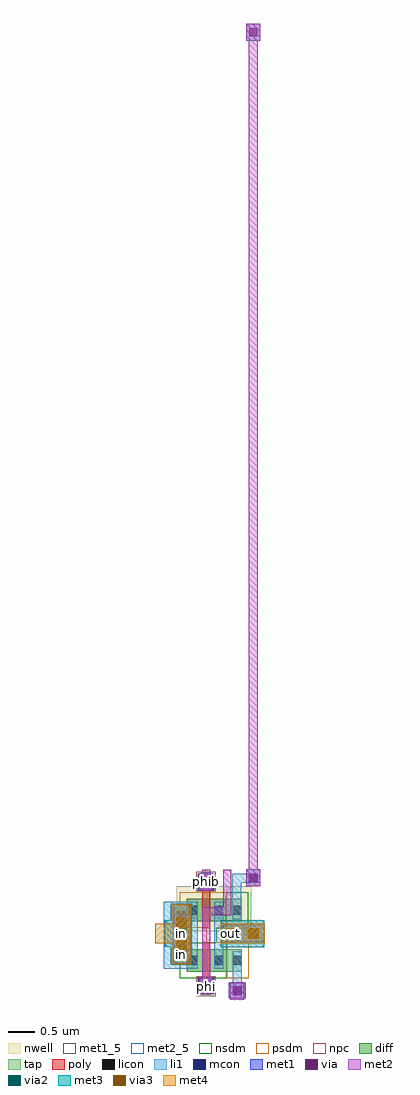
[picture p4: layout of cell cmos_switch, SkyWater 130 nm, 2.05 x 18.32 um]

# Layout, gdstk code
import gdstk
lib = gdstk.Library(unit=1e-6, precision=1e-09)
def R(c, l, rs):  # rectangles x0, y0, x1, y1
    for r in rs: c.add(gdstk.rectangle(r[:2], r[2:], *l))
def A(c, l, x, y, w, h, nx, ny, dx, dy):  # array of equal rectangles
    R(c, l, [(x+i*dx, y+j*dy, x+i*dx+w, y+j*dy+h) for i in range(nx) for j in range(ny)])
nwell = (64, 20)
diff = (65, 20)
tap = (65, 44)
poly = (66, 20)
licon = (66, 44)
li1 = (67, 20)
mcon = (67, 44)
met1_5 = (68, 5)
met1 = (68, 20)
via = (68, 44)
met2_5 = (69, 5)
met2 = (69, 20)
via2 = (69, 44)
met3 = (70, 20)
via3 = (70, 44)
met4 = (71, 20)
nsdm = (93, 44)
psdm = (94, 20)
npc = (95, 20)

cmos_switch = lib.new_cell('cmos_switch')
R(cmos_switch, nwell, [(-0.47,0.81,0.925,1.65)])
R(cmos_switch, diff, [(-0.29,0.05,0.46,0.47), (-0.29,0.995,0.455,1.415)])
R(cmos_switch, tap, [(0.46,0.05,0.75,0.47), (0.455,0.995,0.745,1.415)])
R(cmos_switch, poly, [(-0.01,-0.39,0.16,-0.36), (-0.06,-0.36,0.21,-0.08), (-0.01,-0.08,0.16,-0.06), (0,-0.06,0.15,0.6), (0,0.865,0.15,1.575), (-0.01,1.575,0.16,1.595), (-0.06,1.595,0.21,1.875), (-0.01,1.875,0.16,1.905)])
R(cmos_switch, licon, [(-0.01,-0.31,0.16,-0.14), (-0.25,0.18,-0.08,0.35), (0.23,0.18,0.4,0.35), (0.58,0.18,0.75,0.35), (-0.25,1.115,-0.08,1.285), (0.23,1.115,0.4,1.285), (0.57,1.115,0.74,1.285), (-0.01,1.655,0.16,1.825)])
R(cmos_switch, li1, [(0.58,-0.395,0.75,0.43), (-0.01,-0.39,0.16,-0.06), (-0.72,0.1,-0.08,1.365), (0.23,0.1,0.4,0.68), (0.23,0.68,1.17,0.85), (0.23,0.85,0.4,1.365), (0.57,1.035,0.74,1.72), (-0.01,1.575,0.16,1.905), (0.57,1.72,1.05,1.89)])
A(cmos_switch, mcon, -0.47, 0.305, 0.17, 0.17, 1, 3, 0, 0.36)
R(cmos_switch, mcon, [(0.58,-0.395,0.75,-0.225), (-0.01,-0.31,0.16,-0.14), (0.53,0.68,0.7,0.85), (0.89,0.68,1.06,0.85), (-0.01,1.65,0.16,1.82), (0.88,1.72,1.05,1.89)])
R(cmos_switch, met1_5, [(-0.47,0.285,-0.3,0.455), (-0.47,0.68,-0.3,0.85), (0.45,0.68,0.62,0.85)])
R(cmos_switch, met1, [(0.5,-0.455,0.82,-0.165), (-0.08,-0.38,0.23,-0.06), (-0.545,0.21,-0.225,1.3), (0.375,0.61,1.17,0.92), (-0.08,1.57,0.23,1.89), (0.835,1.65,1.095,1.97), (-0.055,1.89,0.205,1.895), (0.835,17.53,1.095,17.85)])
A(cmos_switch, via, -0.46, 0.36, 0.15, 0.15, 1, 3, 0, 0.32)
R(cmos_switch, via, [(0.585,-0.39,0.735,-0.24), (0,-0.295,0.15,-0.145), (0.535,0.69,0.685,0.84), (0.855,0.69,1.005,0.84), (0,1.66,0.15,1.81), (0.89,1.735,1.04,1.885), (0.89,17.615,1.04,17.765)])
R(cmos_switch, met2_5, [(-0.01,-0.31,0.16,-0.14), (-0.01,1.65,0.16,1.82)])
R(cmos_switch, met2, [(0.53,-0.475,0.79,-0.155), (-0.055,-0.38,0.205,-0.06), (0,-0.06,0.15,1.11), (-0.525,0.185,-0.245,1.3), (0.395,0.58,1.17,0.95), (0,1.11,0.545,1.26), (0.395,1.26,0.545,1.965), (0,1.57,0.15,1.575), (-0.055,1.575,0.205,1.895), (0.835,1.65,1.095,1.97), (0,1.895,0.15,1.965), (0.88,1.97,1.05,17.53), (0.835,17.53,1.095,17.85)])
R(cmos_switch, via2, [(-0.485,0.435,-0.285,0.635), (0.465,0.665,0.665,0.865), (0.865,0.665,1.065,0.865), (-0.485,0.835,-0.285,1.035)])
R(cmos_switch, met3, [(-0.585,0.175,-0.19,0.515), (0.35,0.51,1.17,1.01), (-0.7,0.515,-0.19,1.015), (-0.585,1.015,-0.19,1.325)])
R(cmos_switch, via3, [(-0.485,0.46,-0.285,0.66), (0.47,0.665,0.67,0.865), (0.87,0.665,1.07,0.865), (-0.485,0.86,-0.285,1.06)])
R(cmos_switch, met4, [(-0.55,0.19,-0.205,0.585), (-0.875,0.585,-0.205,0.945), (0.355,0.585,1.175,0.945), (-0.55,0.945,-0.205,1.315)])
R(cmos_switch, nsdm, [(-0.415,-0.075,0.46,0.595), (0.265,0.595,0.65,0.87), (0.455,0.87,0.87,1.54)])
R(cmos_switch, psdm, [(0.46,-0.075,0.875,0.595), (0.075,0.595,0.84,0.87), (-0.415,0.87,0.455,1.54)])
R(cmos_switch, npc, [(-0.11,-0.41,0.26,-0.04), (-0.11,1.555,0.26,1.925)])
cmos_switch.add(gdstk.Label('phib', (0.075,1.735), layer=69, texttype=5))
cmos_switch.add(gdstk.Label('in', (-0.385,0.765), layer=68, texttype=5))
cmos_switch.add(gdstk.Label('phi', (0.075,-0.225), layer=69, texttype=5))
cmos_switch.add(gdstk.Label('out', (0.535,0.765), layer=68, texttype=5))
cmos_switch.add(gdstk.Label('in', (-0.385,0.37), layer=68, texttype=5))

lib.write_gds('cmos_switch.gds')
